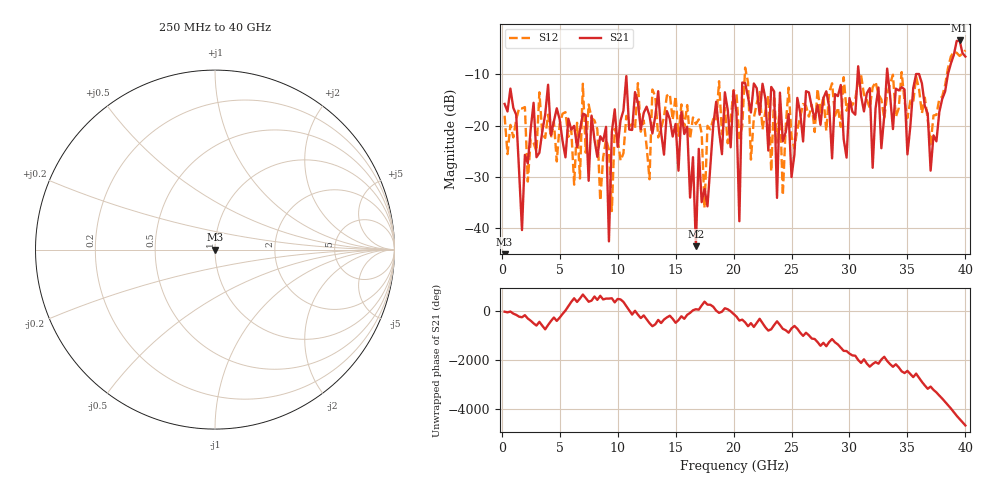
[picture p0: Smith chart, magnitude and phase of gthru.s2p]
# GHz S RI R 50
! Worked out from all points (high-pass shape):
!   160 points, 250 MHz to 40 GHz, reference 50 ohm
!   highest |S21| = -3.35 dB at 39.5 GHz (marker M1); lowest = -43.6 dB at 16.75 GHz (marker M2)
!   |S21| within 3 dB of the highest: 38.98 GHz to 39.94 GHz (965.4 MHz wide, 2.45 % of centre)
!   lowest |S11| = - dB at 250 MHz (marker M3), VSWR 1.00, Z = 50 + j0 ohm
!   |S11| at or under -10 dB: start of sweep to end of sweep
!   |S22| runs from - to - dB; largest |S21 - S12| = 0.68
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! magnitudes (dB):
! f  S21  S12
! 250 MHz  -15.8  -18.1
! 1.75 GHz  -40.4  -16.6
! 2.75 GHz  -15.5  -23.4
! 6.75 GHz  -20.9  -30.3
! 7 GHz  -17.6  -11.8
! 9 GHz  -20.2  -22.7
! 9.25 GHz  -42.6  -24.7
! 9.75 GHz  -16.8  -20.6
! 13.5 GHz  -13.3  -22.3
! 16.75 GHz  -43.6  -19.7
! 20.25 GHz  -17.4  -13.6
! 20.5 GHz  -38.7  -22.4
! 20.75 GHz  -11.6  -20.1
! 23.5 GHz  -13.3  -14.2
! 23.75 GHz  -34.1  -23.3
! 24 GHz  -13.6  -15.8
! 24.25 GHz  -23.1  -33.6
! 26.75 GHz  -16.4  -15.9
! 33.5 GHz  -14.0  -11.8
! 37 GHz  -28.8  -23.6
! 39.5 GHz  -3.3  -6.4
! 40 GHz  -6.5  -5.3
